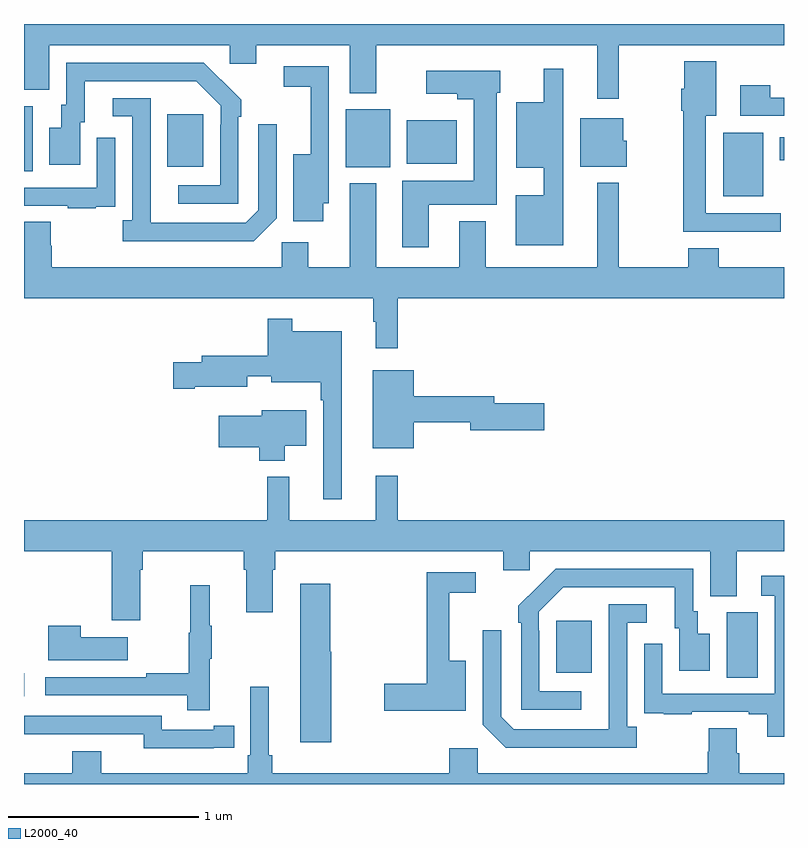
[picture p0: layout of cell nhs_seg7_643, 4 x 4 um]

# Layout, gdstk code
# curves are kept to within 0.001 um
import gdstk
lib = gdstk.Library(unit=1e-6, precision=1e-09)
def R(c, l, rs):  # rectangles x0, y0, x1, y1
    for r in rs: c.add(gdstk.rectangle(r[:2], r[2:], *l))
def P(c, l, *ps):  # polygons
    for p in ps: c.add(gdstk.Polygon(p, *l))
L2000_40 = (2000, 40)

nhs_seg7_643 = lib.new_cell('nhs_seg7_643')
R(nhs_seg7_643, L2000_40, [(159,1058.463,159.001,1058.583), (162.698,1058.56,162.862,1058.904), (161.801,1058.585,161.989,1058.86), (162.68,1061.093,162.892,1061.428), (159,1061.224,159.046,1061.568), (160.694,1061.246,160.927,1061.551), (159.755,1061.249,159.943,1061.524), (161.015,1061.264,161.278,1061.494), (162.977,1061.282,163,1061.404)])
P(nhs_seg7_643, L2000_40, [(162.131,1061.888),(163,1061.888),(163,1062),(159,1062),(159,1061.653),(159.133,1061.653),(159.133,1061.888),(160.083,1061.888),(160.083,1061.79),(160.222,1061.79),(160.222,1061.888),(160.715,1061.888),(160.715,1061.636),(160.855,1061.636),(160.855,1061.888),(162.017,1061.888),(162.017,1061.607),(162.131,1061.607)],
  [(162.982,1061.004),(162.589,1061.004),(162.589,1061.516),(162.643,1061.516),(162.643,1061.803),(162.476,1061.803),(162.476,1061.658),(162.458,1061.658),(162.458,1061.544),(162.469,1061.544),(162.469,1060.907),(162.982,1060.907)],
  [(160.128,1061.513),(160.143,1061.513),(160.143,1061.601),(159.946,1061.796),(159.222,1061.796),(159.222,1061.574),(159.197,1061.574),(159.197,1061.455),(159.134,1061.455),(159.134,1061.259),(159.295,1061.259),(159.295,1061.484),(159.319,1061.484),(159.319,1061.7),(159.907,1061.7),(160.035,1061.571),(160.035,1061.471),(160.032,1061.471),(160.032,1061.151),(159.813,1061.151),(159.813,1061.055),(160.128,1061.055)],
  [(160.576,1061.057),(160.605,1061.057),(160.605,1061.778),(160.368,1061.778),(160.368,1061.67),(160.508,1061.67),(160.508,1061.314),(160.418,1061.314),(160.418,1060.962),(160.576,1060.962)],
  [(161.839,1061.764),(161.735,1061.764),(161.735,1061.587),(161.591,1061.587),(161.591,1061.243),(161.735,1061.243),(161.735,1061.098),(161.588,1061.098),(161.588,1060.835),(161.839,1060.835)],
  [(161.131,1061.048),(161.488,1061.048),(161.488,1061.637),(161.506,1061.637),(161.506,1061.755),(161.118,1061.755),(161.118,1061.633),(161.279,1061.633),(161.279,1061.603),(161.366,1061.603),(161.366,1061.176),(160.991,1061.176),(160.991,1060.824),(161.131,1060.824)],
  [(163,1061.613),(162.927,1061.613),(162.927,1061.677),(162.771,1061.677),(162.771,1061.517),(163,1061.517)],
  [(160.329,1060.977),(160.329,1061.473),(160.233,1061.473),(160.233,1061.019),(160.167,1060.953),(159.667,1060.953),(159.666,1061.61),(159.468,1061.61),(159.468,1061.514),(159.57,1061.514),(159.57,1060.966),(159.519,1060.966),(159.519,1060.856),(160.208,1060.856)],
  [(162.172,1061.385),(162.154,1061.385),(162.154,1061.503),(161.927,1061.503),(161.927,1061.249),(162.172,1061.249)],
  [(159.377,1061.037),(159.479,1061.037),(159.479,1061.146),(159.48,1061.146),(159.48,1061.401),(159.384,1061.401),(159.384,1061.139),(159,1061.139),(159,1061.043),(159.229,1061.043),(159.229,1061.031),(159.377,1061.031)],
  [(159,1060.958),(159,1060.556),(160.839,1060.556),(160.839,1060.433),(160.85,1060.433),(160.85,1060.293),(160.967,1060.293),(160.967,1060.556),(163,1060.556),(163,1060.72),(162.656,1060.72),(162.656,1060.819),(162.496,1060.819),(162.496,1060.72),(162.131,1060.72),(162.131,1061.164),(162.017,1061.164),(162.017,1060.72),(161.431,1060.72),(161.431,1060.963),(161.291,1060.963),(161.291,1060.72),(160.855,1060.72),(160.855,1061.161),(160.715,1061.161),(160.715,1060.72),(160.495,1060.72),(160.495,1060.852),(160.356,1060.852),(160.356,1060.72),(159.146,1060.72),(159.146,1060.833),(159.141,1060.833),(159.141,1060.958)],
  [(160.672,1060.384),(160.411,1060.384),(160.411,1060.45),(160.282,1060.45),(160.282,1060.255),(159.935,1060.255),(159.935,1060.221),(159.786,1060.221),(159.786,1060.079),(159.898,1060.079),(159.898,1060.091),(160.174,1060.091),(160.174,1060.145),(160.301,1060.145),(160.301,1060.115),(160.563,1060.115),(160.563,1060.019),(160.575,1060.019),(160.575,1059.498),(160.672,1059.498)],
  [(161.05,1059.904),(161.348,1059.904),(161.348,1059.862),(161.737,1059.862),(161.737,1060.004),(161.476,1060.004),(161.476,1060.04),(161.05,1060.04),(161.05,1060.177),(160.835,1060.177),(160.835,1059.767),(161.05,1059.767)],
  [(160.372,1059.779),(160.486,1059.779),(160.486,1059.967),(160.25,1059.967),(160.25,1059.937),(160.026,1059.937),(160.026,1059.772),(160.238,1059.772),(160.238,1059.701),(160.372,1059.701)],
  [(159.613,1059.128),(159.626,1059.128),(159.626,1059.224),(160.157,1059.224),(160.157,1059.128),(160.169,1059.128),(160.169,1058.904),(160.309,1058.904),(160.309,1059.128),(160.322,1059.128),(160.322,1059.224),(161.522,1059.224),(161.522,1059.126),(161.661,1059.126),(161.661,1059.224),(162.611,1059.224),(162.611,1058.989),(162.751,1058.989),(162.751,1059.224),(163,1059.224),(163,1059.388),(160.967,1059.388),(160.967,1059.622),(160.85,1059.622),(160.85,1059.388),(160.397,1059.388),(160.397,1059.616),(160.279,1059.616),(160.279,1059.388),(159,1059.388),(159,1059.224),(159.461,1059.224),(159.461,1058.862),(159.613,1058.862)],
  [(161.932,1058.487),(161.712,1058.487),(161.712,1058.807),(161.709,1058.807),(161.709,1058.907),(161.838,1059.036),(162.425,1059.036),(162.425,1058.82),(162.449,1058.82),(162.449,1058.595),(162.61,1058.595),(162.61,1058.791),(162.547,1058.791),(162.547,1058.91),(162.522,1058.91),(162.522,1059.132),(161.798,1059.132),(161.601,1058.937),(161.601,1058.849),(161.616,1058.849),(161.616,1058.391),(161.932,1058.391)],
  [(161.326,1058.65),(161.237,1058.65),(161.237,1059.006),(161.377,1059.006),(161.377,1059.114),(161.119,1059.114),(161.119,1058.528),(160.896,1058.528),(160.896,1058.386),(161.326,1058.386)],
  [(163,1059.097),(162.879,1059.097),(162.879,1058.991),(162.951,1058.991),(162.951,1058.475),(162.36,1058.475),(162.36,1058.737),(162.264,1058.737),(162.264,1058.482),(162.265,1058.482),(162.265,1058.373),(162.367,1058.373),(162.367,1058.367),(162.515,1058.367),(162.515,1058.379),(162.815,1058.379),(162.815,1058.367),(162.911,1058.367),(162.911,1058.25),(163,1058.25)],
  [(160.618,1058.697),(160.613,1058.697),(160.613,1059.055),(160.454,1059.055),(160.454,1058.22),(160.618,1058.22)],
  [(159.977,1058.659),(159.988,1058.659),(159.988,1058.833),(159.977,1058.833),(159.977,1059.046),(159.874,1059.046),(159.874,1058.796),(159.867,1058.796),(159.867,1058.582),(159.643,1058.582),(159.643,1058.562),(159.111,1058.562),(159.111,1058.466),(159.859,1058.466),(159.859,1058.388),(159.977,1058.388)],
  [(162.226,1058.302),(162.174,1058.302),(162.174,1058.85),(162.277,1058.85),(162.277,1058.946),(162.078,1058.946),(162.077,1058.289),(161.577,1058.289),(161.511,1058.355),(161.511,1058.809),(161.415,1058.809),(161.415,1058.313),(161.536,1058.192),(162.226,1058.192)],
  [(159.547,1058.773),(159.299,1058.773),(159.299,1058.833),(159.128,1058.833),(159.128,1058.651),(159.547,1058.651)],
  [(163,1058.056),(162.764,1058.056),(162.764,1058.162),(162.751,1058.162),(162.751,1058.294),(162.604,1058.294),(162.604,1058.169),(162.599,1058.169),(162.599,1058.056),(161.388,1058.056),(161.388,1058.188),(161.237,1058.188),(161.237,1058.056),(160.307,1058.056),(160.307,1058.152),(160.288,1058.152),(160.288,1058.512),(160.191,1058.512),(160.191,1058.152),(160.178,1058.152),(160.178,1058.056),(159.406,1058.056),(159.406,1058.173),(159.254,1058.173),(159.254,1058.056),(159,1058.056),(159,1058),(163,1058)],
  [(159.998,1058.19),(160.106,1058.19),(160.106,1058.306),(159.998,1058.306),(159.998,1058.286),(159.726,1058.286),(159.726,1058.358),(159,1058.358),(159,1058.261),(159.17,1058.261),(159.17,1058.262),(159.63,1058.262),(159.63,1058.189),(159.998,1058.189)])

lib.write_gds('nhs_seg7_643.gds')
